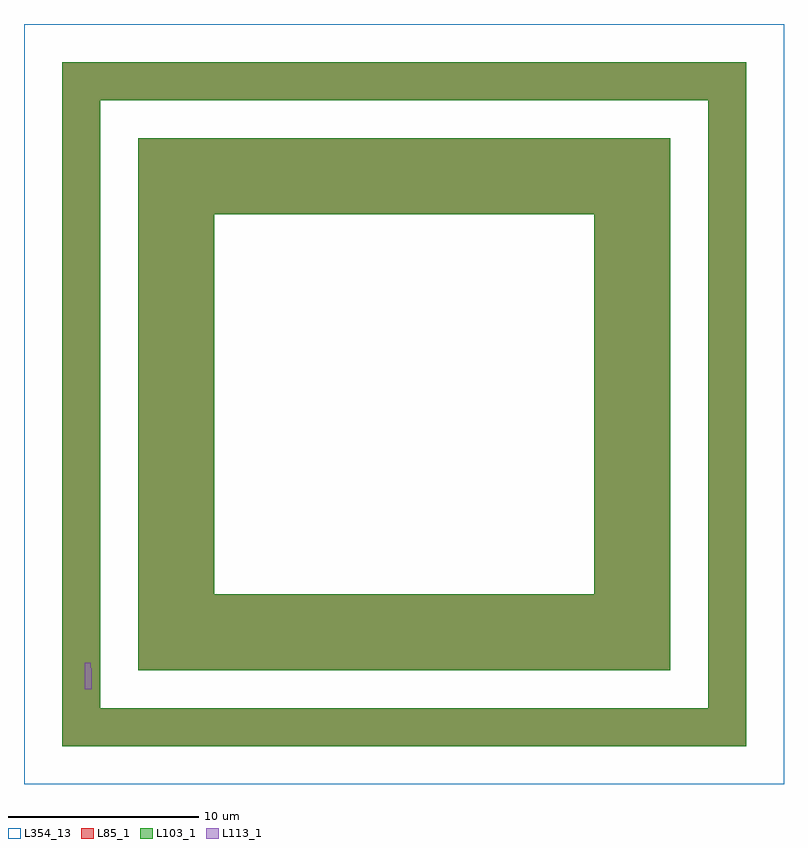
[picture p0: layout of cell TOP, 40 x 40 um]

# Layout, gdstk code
import gdstk
lib = gdstk.Library(unit=1e-6, precision=1e-09)
def R(c, l, rs):  # rectangles x0, y0, x1, y1
    for r in rs: c.add(gdstk.rectangle(r[:2], r[2:], *l))
def P(c, l, *ps):  # polygons
    for p in ps: c.add(gdstk.Polygon(p, *l))
L85_1 = (85, 1)
L103_1 = (103, 1)
L113_1 = (113, 1)
L354_13 = (354, 13)

top = lib.new_cell('TOP')
R(top, L85_1, [(2,2,38,4), (2,4,4,36), (36,4,38,36), (6,6,34,10), (6,10,10,30), (30,10,34,30), (6,30,34,34), (2,36,38,38)])
R(top, L103_1, [(2,2,38,4), (2,4,4,36), (36,4,38,36), (6,6,34,10), (6,10,10,30), (30,10,34,30), (6,30,34,34), (2,36,38,38)])
P(top, L113_1, [(3.2,5),(3.2,6.38),(3.5,6.38),(3.5,6.08),(3.56,6.08),(3.56,5)])
R(top, L354_13, [(0,0,40,40)])

lib.write_gds('TOP.gds')
